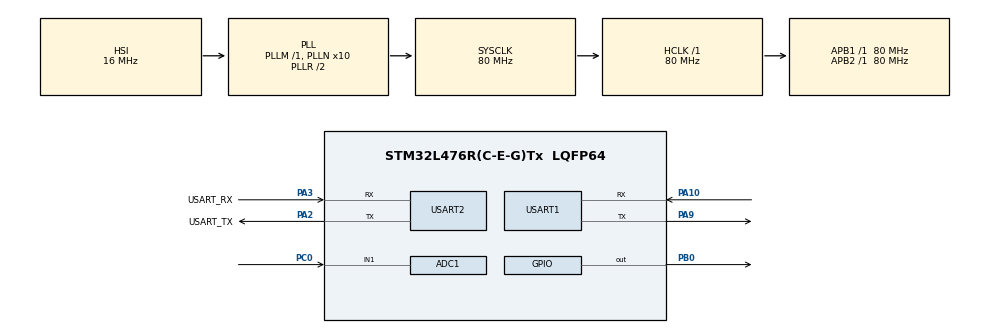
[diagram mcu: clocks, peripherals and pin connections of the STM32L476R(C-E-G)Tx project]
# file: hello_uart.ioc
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Mcu.Family=STM32L4
PA2.GPIO_PuPd=GPIO_NOPULL
VP_SYS_VS_tim6.Mode=TIM6
RCC.CortexFreq_Value=80000000
NVIC.TIM6_DAC_IRQn=true\:0\:0\:false\:false\:true\:false\:false\:true
PH0-OSC_IN\ (PH0).Signal=RCC_OSC_IN
PA3.GPIO_PuPd=GPIO_NOPULL
PA2.GPIO_Speed=GPIO_SPEED_FREQ_VERY_HIGH
PC15-OSC32_OUT\ (PC15).Mode=LSE-External-Oscillator
PA3.GPIO_Speed=GPIO_SPEED_FREQ_VERY_HIGH
RCC.SYSCLKSource=RCC_SYSCLKSOURCE_PLLCLK
ProjectManager.StackSize=0x400
PB3\ (JTDO-TRACESWO).Signal=SYS_JTDO-SWO
PC14-OSC32_IN\ (PC14).Mode=LSE-External-Oscillator
VP_FREERTOS_VS_CMSIS_V2.Mode=CMSIS_V2
PA14\ (JTCK-SWCLK).Signal=SYS_JTCK-SWCLK
RCC.HCLKFreq_Value=80000000
RCC.APB2TimFreq_Value=80000000
RCC.AHBFreq_Value=80000000
RCC.PREFETCH_ENABLE=1
ADC1.Channel-0\#ChannelRegularConversion=ADC_CHANNEL_1
RCC.HSE_VALUE=8000000
USART2.VirtualMode-Asynchronous=VM_ASYNC
ADC1.SamplingTime-0\#ChannelRegularConversion=ADC_SAMPLETIME_2CYCLES_5
Mcu.Package=LQFP64
NVIC.TimeBase=TIM6_DAC_IRQn
PA2.GPIO_Label=USART_TX
NVIC.TimeBaseIP=TIM6
PA10.Signal=USART1_RX
SH.ADCx_IN1.0=ADC1_IN1,IN1-Single-Ended
RCC.APB1TimFreq_Value=80000000
PA13\ (JTMS-SWDIO).Signal=SYS_JTMS-SWDIO
NVIC.USART1_IRQn=true\:5\:0\:false\:false\:true\:true\:true\:true
PA3.Signal=USART2_RX
PA2.GPIO_Mode=GPIO_MODE_AF_PP
RCC.MSI_VALUE=4000000
RCC.PLLSourceVirtual=RCC_PLLSOURCE_HSI
PA14\ (JTCK-SWCLK).Mode=Serial_Wire
FREERTOS.Tasks01=uartTask,24,128,StartUARTTask,Default,NULL,Dynamic,NULL,NULL
ADC1.Rank-0\#ChannelRegularConversion=1
PA10.Mode=Asynchronous
ADC1.OffsetNumber-0\#ChannelRegularConversion=ADC_OFFSET_NONE
PC15-OSC32_OUT\ (PC15).Signal=RCC_OSC32_OUT
PA14\ (JTCK-SWCLK).GPIO_Label=TCK
PB3\ (JTDO-TRACESWO).GPIO_Label=SWO
PC0.Signal=ADCx_IN1
NVIC.USART2_IRQn=true\:5\:0\:false\:false\:true\:true\:true\:true
PH1-OSC_OUT\ (PH1).Signal=RCC_OSC_OUT
USART1.VirtualMode-Asynchronous=VM_ASYNC
PA3.Mode=Asynchronous
PA9.Mode=Asynchronous
ProjectManager.TargetToolchain=STM32CubeIDE
PA3.GPIO_Mode=GPIO_MODE_AF_PP
PA9.Signal=USART1_TX
RCC.USBFreq_Value=64000000
board=NUCLEO-L476RG
RCC.VCOOutputFreq_Value=160000000
RCC.APB2Freq_Value=80000000
PA13\ (JTMS-SWDIO).GPIO_Label=TMS
RCC.ADCFreq_Value=64000000
Mcu.Name=STM32L476R(C-E-G)Tx
PA2.Signal=USART2_TX
PA13\ (JTMS-SWDIO).Mode=Serial_Wire
RCC.SYSCLKFreq_VALUE=80000000
ADC1.master=1
PC14-OSC32_IN\ (PC14).Signal=RCC_OSC32_IN
ProjectManager.HeapSize=0x200
RCC.HSI_VALUE=16000000
NVIC.PriorityGroup=NVIC_PRIORITYGROUP_4
ADC1.NbrOfConversionFlag=1
RCC.PLLN=10
PA2.Mode=Asynchronous
RCC.APB1Freq_Value=80000000
PB0.Signal=GPIO_Output
PA3.GPIO_Label=USART_RX

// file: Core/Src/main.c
/* USER CODE BEGIN Header */
/**
  ******************************************************************************
  * @file           : main.c
  * @brief          : Main program body
  ******************************************************************************
  * @attention
  *
  * <h2><center>&copy; Copyright (c) 2021 STMicroelectronics.
  * All rights reserved.</center></h2>
  *
  * This software component is licensed by ST under BSD 3-Clause license,
  * the "License"; You may not use this file except in compliance with the
  * License. You may obtain a copy of the License at:
  *                        opensource.org/licenses/BSD-3-Clause
  *
  ******************************************************************************
  */
/* USER CODE END Header */
#include "main.h"
#include "cmsis_os.h"

/* USER CODE BEGIN Includes */
#include "stdio.h"
#include "string.h"
//#include "UARTRingBuffer.h"
#include "UARTRingBufferGeneral.h"
/* USER CODE END Includes */

ADC_HandleTypeDef hadc1;

UART_HandleTypeDef huart1;
UART_HandleTypeDef huart2;

/* Definitions for uartTask */
osThreadId_t uartTaskHandle;
const osThreadAttr_t uartTask_attributes = {
  .name = "uartTask",
  .stack_size = 128 * 4,
  .priority = (osPriority_t) osPriorityNormal,
};

void SystemClock_Config(void);
static void MX_GPIO_Init(void);
static void MX_USART2_UART_Init(void);
static void MX_ADC1_Init(void);
static void MX_USART1_UART_Init(void);
void StartUARTTask(void *argument);

/* USER CODE BEGIN 0 */

/*
// DMA
volatile uint8_t toggle = 0;
char uartRxData[100] = "\r\n";
char uartTxData[100] = "\r\n";
*/

// Ring Buffer
extern UARTRingBufferHandle_t uartRingBuffer1;
extern UARTRingBufferHandle_t uartRingBuffer2;

/* USER CODE END 0 */

int main(void)
{

  /* MCU Configuration--------------------------------------------------------*/

  /* Reset of all peripherals, Initializes the Flash interface and the Systick. */
  HAL_Init();

  /* Configure the system clock */
  SystemClock_Config();

  /* Initialize all configured peripherals */
  MX_GPIO_Init();
  MX_USART1_UART_Init();
  MX_USART2_UART_Init();
  MX_ADC1_Init();
  /* USER CODE BEGIN 2 */

  // Ring Buffer
	HAL_GPIO_TogglePin(GPIOB, GPIO_PIN_0);

  vInitUARTRingBuffers();
	HAL_GPIO_TogglePin(GPIOB, GPIO_PIN_0);

  /*
  // Interrupt
	for (int i = 0; i < sizeof(uartData) - 3; i++)
	{
		uartData[i] = 'x';
	}
	uartData[sizeof(uartData) - 3] = 'z';
	uartData[sizeof(uartData) - 2] = '\r';
	uartData[sizeof(uartData) - 1] = '\n';
	HAL_UART_Transmit_IT(&huart2, (uint8_t *)uartData, sizeof(uartData));
	*/

  /*
  // DMA
  HAL_UART_Transmit_DMA(&huart2, (uint8_t *)uartTxData, sizeof(uartTxData));
	*/

  /* USER CODE END 2 */

  /* Init scheduler */
  osKernelInitialize();

  /* Create the thread(s) */
  /* creation of uartTask */
  uartTaskHandle = osThreadNew(StartUARTTask, NULL, &uartTask_attributes);

  /* Start scheduler */
  osKernelStart();

  /* We should never get here as control is now taken by the scheduler */
  /* Infinite loop */
  while (1)
  {

  }
}

void SystemClock_Config(void)
{
  RCC_OscInitTypeDef RCC_OscInitStruct = {0};
  RCC_ClkInitTypeDef RCC_ClkInitStruct = {0};
  RCC_PeriphCLKInitTypeDef PeriphClkInit = {0};

  /** Initializes the RCC Oscillators according to the specified parameters
  * in the RCC_OscInitTypeDef structure.
  */
  RCC_OscInitStruct.OscillatorType = RCC_OSCILLATORTYPE_HSI;
  RCC_OscInitStruct.HSIState = RCC_HSI_ON;
  RCC_OscInitStruct.HSICalibrationValue = RCC_HSICALIBRATION_DEFAULT;
  RCC_OscInitStruct.PLL.PLLState = RCC_PLL_ON;
  RCC_OscInitStruct.PLL.PLLSource = RCC_PLLSOURCE_HSI;
  RCC_OscInitStruct.PLL.PLLM = 1;
  RCC_OscInitStruct.PLL.PLLN = 10;
  RCC_OscInitStruct.PLL.PLLP = RCC_PLLP_DIV7;
  RCC_OscInitStruct.PLL.PLLQ = RCC_PLLQ_DIV2;
  RCC_OscInitStruct.PLL.PLLR = RCC_PLLR_DIV2;
  if (HAL_RCC_OscConfig(&RCC_OscInitStruct) != HAL_OK)
  {
    Error_Handler();
  }
  /** Initializes the CPU, AHB and APB buses clocks
  */
  RCC_ClkInitStruct.ClockType = RCC_CLOCKTYPE_HCLK|RCC_CLOCKTYPE_SYSCLK
                              |RCC_CLOCKTYPE_PCLK1|RCC_CLOCKTYPE_PCLK2;
  RCC_ClkInitStruct.SYSCLKSource = RCC_SYSCLKSOURCE_PLLCLK;
  RCC_ClkInitStruct.AHBCLKDivider = RCC_SYSCLK_DIV1;
  RCC_ClkInitStruct.APB1CLKDivider = RCC_HCLK_DIV1;
  RCC_ClkInitStruct.APB2CLKDivider = RCC_HCLK_DIV1;

  if (HAL_RCC_ClockConfig(&RCC_ClkInitStruct, FLASH_LATENCY_4) != HAL_OK)
  {
    Error_Handler();
  }
  PeriphClkInit.PeriphClockSelection = RCC_PERIPHCLK_USART1|RCC_PERIPHCLK_USART2
                              |RCC_PERIPHCLK_ADC;
  PeriphClkInit.Usart1ClockSelection = RCC_USART1CLKSOURCE_PCLK2;
  PeriphClkInit.Usart2ClockSelection = RCC_USART2CLKSOURCE_PCLK1;
  PeriphClkInit.AdcClockSelection = RCC_ADCCLKSOURCE_PLLSAI1;
  PeriphClkInit.PLLSAI1.PLLSAI1Source = RCC_PLLSOURCE_HSI;
  PeriphClkInit.PLLSAI1.PLLSAI1M = 1;
  PeriphClkInit.PLLSAI1.PLLSAI1N = 8;
  PeriphClkInit.PLLSAI1.PLLSAI1P = RCC_PLLP_DIV7;
  PeriphClkInit.PLLSAI1.PLLSAI1Q = RCC_PLLQ_DIV2;
  PeriphClkInit.PLLSAI1.PLLSAI1R = RCC_PLLR_DIV2;
  PeriphClkInit.PLLSAI1.PLLSAI1ClockOut = RCC_PLLSAI1_ADC1CLK;
  if (HAL_RCCEx_PeriphCLKConfig(&PeriphClkInit) != HAL_OK)
  {
    Error_Handler();
  }
  /** Configure the main internal regulator output voltage
  */
  if (HAL_PWREx_ControlVoltageScaling(PWR_REGULATOR_VOLTAGE_SCALE1) != HAL_OK)
  {
    Error_Handler();
  }
}

static void MX_ADC1_Init(void)
{

  ADC_MultiModeTypeDef multimode = {0};
  ADC_ChannelConfTypeDef sConfig = {0};

  /** Common config
  */
  hadc1.Instance = ADC1;
  hadc1.Init.ClockPrescaler = ADC_CLOCK_ASYNC_DIV1;
  hadc1.Init.Resolution = ADC_RESOLUTION_12B;
  hadc1.Init.DataAlign = ADC_DATAALIGN_RIGHT;
  hadc1.Init.ScanConvMode = ADC_SCAN_DISABLE;
  hadc1.Init.EOCSelection = ADC_EOC_SINGLE_CONV;
  hadc1.Init.LowPowerAutoWait = DISABLE;
  hadc1.Init.ContinuousConvMode = DISABLE;
  hadc1.Init.NbrOfConversion = 1;
  hadc1.Init.DiscontinuousConvMode = DISABLE;
  hadc1.Init.ExternalTrigConv = ADC_SOFTWARE_START;
  hadc1.Init.ExternalTrigConvEdge = ADC_EXTERNALTRIGCONVEDGE_NONE;
  hadc1.Init.DMAContinuousRequests = DISABLE;
  hadc1.Init.Overrun = ADC_OVR_DATA_PRESERVED;
  hadc1.Init.OversamplingMode = DISABLE;
  if (HAL_ADC_Init(&hadc1) != HAL_OK)
  {
    Error_Handler();
  }
  /** Configure the ADC multi-mode
  */
  multimode.Mode = ADC_MODE_INDEPENDENT;
  if (HAL_ADCEx_MultiModeConfigChannel(&hadc1, &multimode) != HAL_OK)
  {
    Error_Handler();
  }
  /** Configure Regular Channel
  */
  sConfig.Channel = ADC_CHANNEL_1;
  sConfig.Rank = ADC_REGULAR_RANK_1;
  sConfig.SamplingTime = ADC_SAMPLETIME_2CYCLES_5;
  sConfig.SingleDiff = ADC_SINGLE_ENDED;
  sConfig.OffsetNumber = ADC_OFFSET_NONE;
  sConfig.Offset = 0;
  if (HAL_ADC_ConfigChannel(&hadc1, &sConfig) != HAL_OK)
  {
    Error_Handler();
  }

}

static void MX_USART1_UART_Init(void)
{

  huart1.Instance = USART1;
  huart1.Init.BaudRate = 115200;
  huart1.Init.WordLength = UART_WORDLENGTH_8B;
  huart1.Init.StopBits = UART_STOPBITS_1;
  huart1.Init.Parity = UART_PARITY_NONE;
  huart1.Init.Mode = UART_MODE_TX_RX;
  huart1.Init.HwFlowCtl = UART_HWCONTROL_NONE;
  huart1.Init.OverSampling = UART_OVERSAMPLING_16;
  huart1.Init.OneBitSampling = UART_ONE_BIT_SAMPLE_DISABLE;
  huart1.AdvancedInit.AdvFeatureInit = UART_ADVFEATURE_NO_INIT;
  if (HAL_UART_Init(&huart1) != HAL_OK)
  {
    Error_Handler();
  }

}

static void MX_USART2_UART_Init(void)
{

  huart2.Instance = USART2;
  huart2.Init.BaudRate = 115200;
  huart2.Init.WordLength = UART_WORDLENGTH_8B;
  huart2.Init.StopBits = UART_STOPBITS_1;
  huart2.Init.Parity = UART_PARITY_NONE;
  huart2.Init.Mode = UART_MODE_TX_RX;
  huart2.Init.HwFlowCtl = UART_HWCONTROL_NONE;
  huart2.Init.OverSampling = UART_OVERSAMPLING_16;
  huart2.Init.OneBitSampling = UART_ONE_BIT_SAMPLE_DISABLE;
  huart2.AdvancedInit.AdvFeatureInit = UART_ADVFEATURE_NO_INIT;
  if (HAL_UART_Init(&huart2) != HAL_OK)
  {
    Error_Handler();
  }

}

static void MX_GPIO_Init(void)
{
  GPIO_InitTypeDef GPIO_InitStruct = {0};

  /* GPIO Ports Clock Enable */
  __HAL_RCC_GPIOC_CLK_ENABLE();
  __HAL_RCC_GPIOH_CLK_ENABLE();
  __HAL_RCC_GPIOA_CLK_ENABLE();
  __HAL_RCC_GPIOB_CLK_ENABLE();

  /*Configure GPIO pin Output Level */
  HAL_GPIO_WritePin(GPIOB, GPIO_PIN_0, GPIO_PIN_RESET);

  /*Configure GPIO pin : PB0 */
  GPIO_InitStruct.Pin = GPIO_PIN_0;
  GPIO_InitStruct.Mode = GPIO_MODE_OUTPUT_PP;
  GPIO_InitStruct.Pull = GPIO_NOPULL;
  GPIO_InitStruct.Speed = GPIO_SPEED_FREQ_LOW;
  HAL_GPIO_Init(GPIOB, &GPIO_InitStruct);

}

/* USER CODE BEGIN 4 */
/*
// Interrupt
void HAL_UART_TxCpltCallback(UART_HandleTypeDef *huart)
{
	HAL_UART_Transmit_IT(&huart2, uartData, sizeof(uartData));
}
*/

/*
// DMA
void HAL_UART_RxHalfCpltCallback(UART_HandleTypeDef *huart)
{
	for (int i = 0; i < sizeof(uartRxData)/2; i++)
	{
		uartTxData[i] = uartRxData[i];
	}
}

void HAL_UART_RxCpltCallback(UART_HandleTypeDef *huart)
{
	for (int i = 0; i < sizeof(uartRxData)/2; i++)
	{
		uartTxData[i] = uartRxData[i];
	}
}

void HAL_UART_TxHalfCpltCallback(UART_HandleTypeDef *huart)
{
	for (int i = 0; i < sizeof(uartTxData)/2; i++)
	{
	}
}

void HAL_UART_TxCpltCallback(UART_HandleTypeDef *huart)
{
	for (int i = sizeof(uartTxData)/2; i < sizeof(uartTxData) - 3; i++)
	{
	}
}
*/

// Ring Buffer

/* USER CODE END 4 */

void StartUARTTask(void *argument)
{
  /* USER CODE BEGIN 5 */
  /* Infinite loop */

	// Toggle
	/*
	char uartData[10] = "\r\n";
	uint16_t rawData = 100;
	*/
  for(;;)
  {
    //snprintf(uartData, sizeof(uartData), "%u\r\n", rawData);

  	/*
  	// DMA
    HAL_UART_Transmit_DMA(&huart2, (uint8_t *)uartTxData, sizeof(uartTxData));
    osDelay(250);
    HAL_UART_Receive_DMA(&huart2, (uint8_t *)uartRxData, sizeof(uartRxData));
    */

  	// Ring Buffer
  	uint8_t status;
  	unsigned char c;

  	//if(uGetNumReadableCharRXBuffer() > 0)

  	while (uGetNumReadableCharRXBuffer(&uartRingBuffer2) > 0)
  	{
  		xReadUART(&uartRingBuffer2, &c);
  		xWriteUART(&uartRingBuffer2, c);
  	}

  	HAL_GPIO_TogglePin(GPIOB, GPIO_PIN_0);
    osDelay(100);
  }
  /* USER CODE END 5 */
}

 /**
  * @brief  Period elapsed callback in non blocking mode
  * @note   This function is called  when TIM6 interrupt took place, inside
  * HAL_TIM_IRQHandler(). It makes a direct call to HAL_IncTick() to increment
  * a global variable "uwTick" used as application time base.
  * @param  htim : TIM handle
  * @retval None
  */
void HAL_TIM_PeriodElapsedCallback(TIM_HandleTypeDef *htim)
{
  if (htim->Instance == TIM6) {
    HAL_IncTick();
  }
}

void Error_Handler(void)
{
  __disable_irq();
  while (1)
  {
  }
}

/************************ (C) COPYRIGHT STMicroelectronics *****END OF FILE****/
